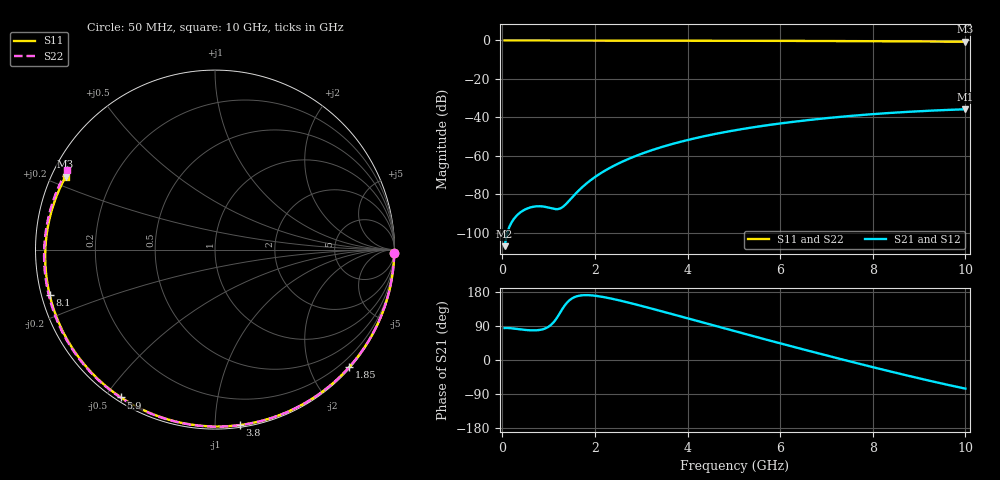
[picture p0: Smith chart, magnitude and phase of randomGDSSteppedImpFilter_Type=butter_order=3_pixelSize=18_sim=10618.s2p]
! freq	dB(S11)	phase(S11)	dB(S12)	phase(S12)
!  dB(S21)	phase(S21)	dB(S22)	phase(S22)
!S-par simulation data
#  GHz  S  DB  R 50
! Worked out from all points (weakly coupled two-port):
!   200 points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, 50 MHz to 10 GHz, reference 50 ohm
!   highest |S21| = -35.74 dB at 10 GHz (marker M1); lowest = -106.9 dB at 50 MHz (marker M2)
!   lowest |S11| = -0.7 dB at 10 GHz (marker M3), VSWR 26.12, Z = 2.02 + j11.5 ohm
!   |S11| at or under -10 dB: nowhere
!   |S22| runs from -0.6 to 0.0 dB; largest |S21 - S12| = 0
!   S11 on the Smith chart (normalised r, x): 50 MHz: open; 1.85 GHz: 0.02, -2.66; 3.8 GHz: 0.01, -1.15; 5.9 GHz: 0.02, -0.55; 8.1 GHz: 0.02, -0.14; 10 GHz: 0.04, +0.23
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0.05  -0.01 -1.1  -106.85 84.3  -106.85 84.3  -0.00 -1.2
0.75  -0.02 -16.9  -86.14 78.5  -86.14 78.5  -0.02 -18.8
1.15  -0.03 -25.9  -87.61 106.1  -87.61 106.1  -0.04 -28.6
1.55  -0.04 -34.7  -80.42 165.4  -80.42 165.4  -0.05 -38.3
1.75  -0.05 -39.1  -75.69 171.0  -75.69 171.0  -0.05 -43.1
1.85  -0.05 -41.2  -73.66 171.1  -73.66 171.1  -0.06 -45.5
2.15  -0.06 -47.7  -68.59 166.9  -68.59 166.9  -0.07 -52.5
2.5  -0.07 -55.2  -64.00 158.1  -64.00 158.1  -0.08 -60.6
2.9  -0.08 -63.6  -59.83 146.1  -59.83 146.1  -0.09 -69.6
3.4  -0.10 -73.8  -55.68 129.9  -55.68 129.9  -0.10 -80.5
3.8  -0.11 -81.9  -52.94 116.7  -52.94 116.7  -0.12 -89.0
4.4  -0.13 -93.8  -49.54 96.6  -49.54 96.6  -0.14 -101.4
5.05  -0.16 -106.3  -46.56 75.0  -46.56 75.0  -0.17 -114.3
5.9  -0.21 -122.4  -43.44 47.2  -43.44 47.2  -0.22 -130.6
6.7  -0.27 -137.5  -41.12 21.6  -41.12 21.6  -0.27 -145.5
7.4  -0.33 -150.9  -39.46 -0.4  -39.46 -0.4  -0.32 -158.4
8.1  -0.40 -164.6  -38.11 -21.9  -38.11 -21.9  -0.38 -171.3
8.35  -0.43 -169.6  -37.69 -29.4  -37.69 -29.4  -0.41 -176.0
8.8  -0.48 -178.9  -37.03 -42.6  -37.03 -42.6  -0.45 175.4
9.2  -0.54 172.5  -36.53 -54.0  -36.53 -54.0  -0.49 167.7
9.6  -0.60 163.5  -36.10 -65.0  -36.10 -65.0  -0.54 159.8
10  -0.67 154.0  -35.74 -75.6  -35.74 -75.6  -0.58 151.7
